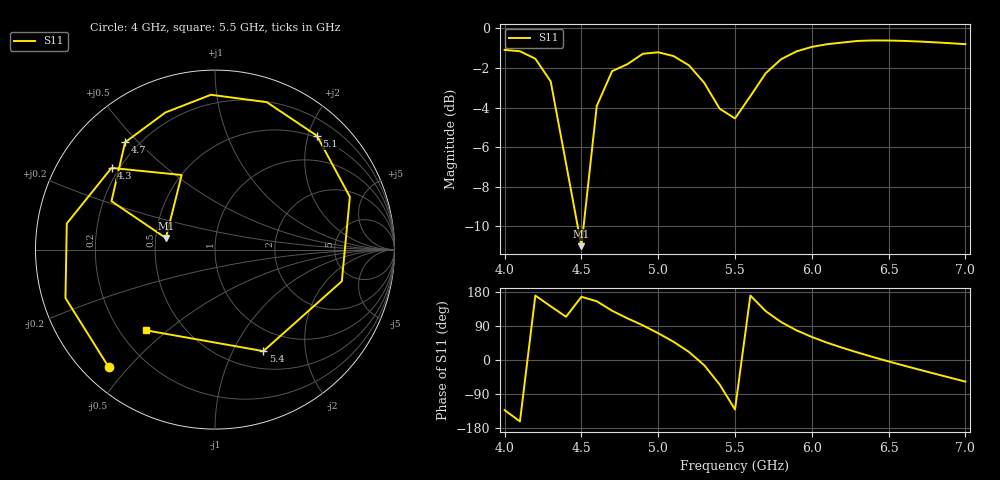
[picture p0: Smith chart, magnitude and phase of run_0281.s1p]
! Touchstone file exported from HFSS 2024.2.0
!  File:  C:/Users/wsak9/Desktop/Sim Fast/Widenad Patch/WP_AI_V1_sweep.aedt
!  Generated:  02:51:58 AM Oct 14, 2026
!  Design:  A1_model
!  Project:  WP_AI_V1_sweep
!  Setup:  Setup1
!  Solution:  Sweep
! Variables:
!  Air_gap = 2.34mm
!  Curve_Amp1 = 3.78
!  Curve_len1 = 1
!  Curve_pos = 12.225mm
!  Extra = 6.39mm
!  H_sub = 0.79mm
!  L_Patch = 20.45mm
!  L_Patch1 = 14.97mm
!  Sx = 0.96mm
!  Sy = 1.03mm
!  WS = 1.07mm
!  W_Patch = 19.73mm
!  W_Patch1 = 8.58mm
!Data is not renormalized
# GHz S MA
! Terminal data exported
! Port[1] = 1
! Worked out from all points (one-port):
!   31 points, 4 GHz to 7 GHz, reference per port
!   lowest |S11| = -11.0 dB at 4.5 GHz (marker M1), VSWR 1.78
!   |S11| at or under -10 dB: 4.476 GHz to 4.514 GHz (38.73 MHz wide, 0.862 % of centre)
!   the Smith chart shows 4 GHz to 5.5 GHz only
!   S11 on the Smith chart (normalised r, x): 4 GHz: 0.07, -0.44; 4.3 GHz: 0.17, +0.34; 4.7 GHz: 0.15, +0.46; 5.1 GHz: 0.47, +2.15; 5.4 GHz: 0.71, -1.33; 5.5 GHz: 0.31, -0.42
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4  0.8826 -132.2
4.1  0.8758 -162.0
4.2  0.8384 170.0
4.3  0.7346 141.7
4.4  0.4552 114.1
4.5  0.2812 166.8
4.6  0.6366 155.0
4.7  0.7799 130.0
4.8  0.8125 109.9
4.9  0.8629 91.5
5  0.8706 70.6
5.1  0.8514 48.1
5.2  0.8069 21.4
5.3  0.7283 -14.0
5.4  0.6266 -64.5
5.5  0.5921 -130.6
5.6  0.6739 170.0
5.7  0.7707 128.9
5.8  0.8359 100.1
5.9  0.8749 78.4
6  0.8983 60.8
6.1  0.9125 45.6
6.2  0.9214 32.1
6.3  0.9302 19.6
6.5  0.9322 -3.8
6.7  0.9268 -25.5
6.9  0.9178 -46.6
7  0.9127 -57.0
